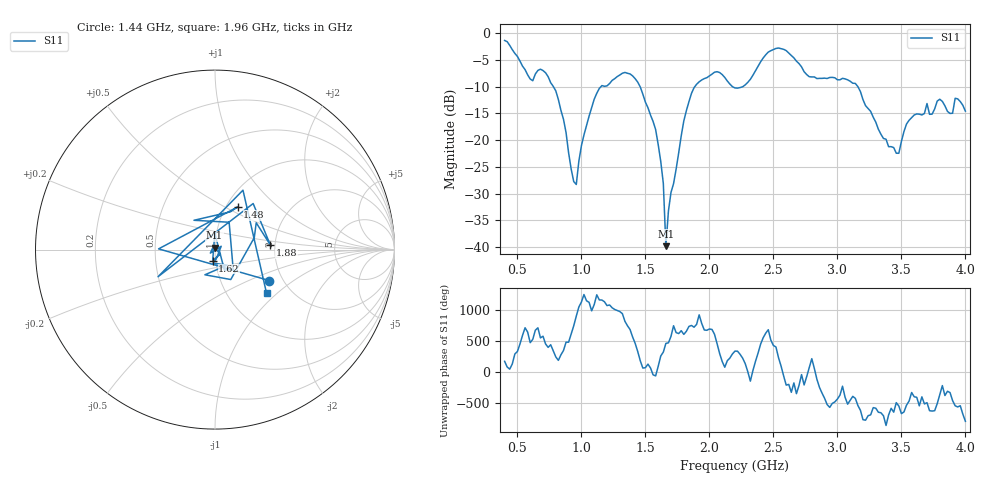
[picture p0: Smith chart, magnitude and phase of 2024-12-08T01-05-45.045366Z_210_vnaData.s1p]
!Created with skrf (http://scikit-rf.org).
# Hz S RI R 50.0
!freq ReS11 ImS11
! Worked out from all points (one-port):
!   181 points, 400 MHz to 4 GHz, reference 50 ohm
!   lowest |S11| = -39.8 dB at 1.66 GHz (marker M1), VSWR 1.02, Z = 49.8 + j0.991 ohm
!   |S11| at or under -10 dB: 781.6 MHz to 1.152 GHz (370.3 MHz wide, 38.3 % of centre); 1.459 GHz to 1.886 GHz (426.8 MHz wide, 25.5 % of centre); 3.16 GHz to end of sweep (the widest 3 of 4)
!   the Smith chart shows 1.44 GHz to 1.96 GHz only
!   S11 on the Smith chart (normalised r, x): 1.44 GHz: 1.71, -0.67; 1.48 GHz: 1.13, +0.58; 1.62 GHz: 0.97, -0.12; 1.88 GHz: 1.89, +0.10; 1.96 GHz: 1.51, -0.86
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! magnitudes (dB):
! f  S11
! 400 MHz  -1.3
! 600 MHz  -8.6
! 720 MHz  -7.4
! 860 MHz  -16.1
! 960 MHz  -28.3
! 1 GHz  -21.0
! 1.1 GHz  -12.3
! 1.3 GHz  -7.8
! 1.44 GHz  -9.1
! 1.48 GHz  -11.4
! 1.58 GHz  -18.0
! 1.62 GHz  -24.0
! 1.64 GHz  -28.1
! 1.66 GHz  -39.8
! 1.68 GHz  -33.3
! 1.76 GHz  -22.4
! 1.88 GHz  -10.2
! 1.96 GHz  -8.5
! 2.06 GHz  -7.2
! 2.2 GHz  -10.2
! 2.48 GHz  -3.3
! 2.66 GHz  -4.6
! 2.78 GHz  -8.1
! 3.1 GHz  -9.0
! 3.46 GHz  -22.4
! 3.56 GHz  -16.3
! 3.8 GHz  -12.3
! 4 GHz  -14.6
